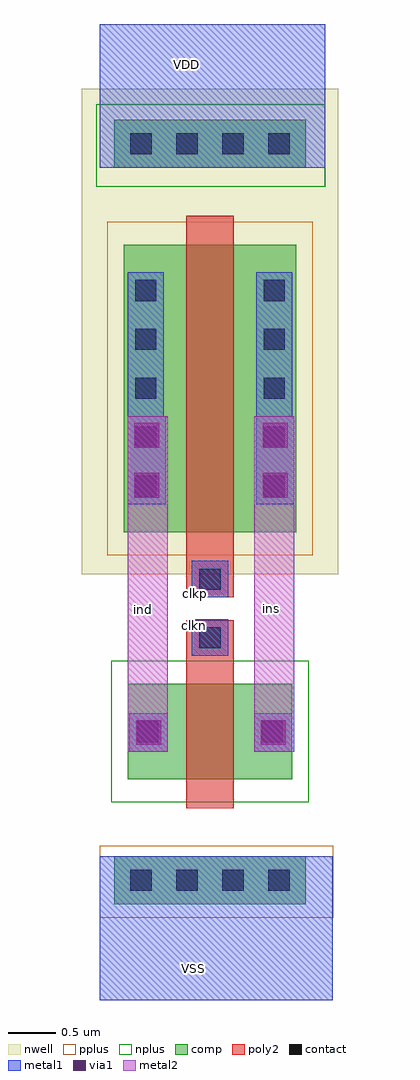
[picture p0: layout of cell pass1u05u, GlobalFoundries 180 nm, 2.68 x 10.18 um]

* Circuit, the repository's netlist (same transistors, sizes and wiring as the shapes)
** sch_path: /foss/designs/libs/core_analog/pass1u05u/pass1u05u.sch
.subckt pass1u05u ind vss clkn ins clkp vdd
*.PININFO ind:B ins:B clkn:B clkp:B vdd:B vss:B
M1 ind clkp ins vdd pfet_03v3 L=0.5u W=3.0u nf=1 m=1
M2 ind clkn ins vss nfet_03v3 L=0.5u W=1.0u nf=1 m=1
.ends

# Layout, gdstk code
from math import pi, radians
import gdstk
lib = gdstk.Library(unit=1e-6, precision=5e-09)
def R(c, l, rs):  # rectangles x0, y0, x1, y1
    for r in rs: c.add(gdstk.rectangle(r[:2], r[2:], *l))
def A(c, l, x, y, w, h, nx, ny, dx, dy):  # array of equal rectangles
    R(c, l, [(x+i*dx, y+j*dy, x+i*dx+w, y+j*dy+h) for i in range(nx) for j in range(ny)])
nwell = (21, 0)
comp = (22, 0)
poly2 = (30, 0)
pplus = (31, 0)
nplus = (32, 0)
contact = (33, 0)
metal1 = (34, 0)
via1 = (35, 0)
metal2 = (36, 0)

pfet_1 = lib.new_cell('pfet$1')
R(pfet_1, nwell, [(-0.9,-0.44,1.78,3.44)])
R(pfet_1, comp, [(-0.46,0,0,3), (0,0,0.88,3), (0.88,0,1.34,3)])
R(pfet_1, poly2, [(0.19,-0.68,0.69,-0.3), (0.19,-0.3,0.69,3.3)])
R(pfet_1, pplus, [(-0.63,-0.24,1.51,3.24)])
A(pfet_1, contact, -0.34, 0.37, 0.22, 0.22, 1, 5, 0, 0.51)
A(pfet_1, contact, 1, 0.37, 0.22, 0.22, 1, 5, 0, 0.51)
R(pfet_1, contact, [(0.33,-0.6,0.55,-0.38)])
R(pfet_1, metal1, [(0.25,-0.68,0.63,-0.3), (-0.42,0.29,-0.04,2.71), (0.92,0.29,1.3,2.71)])

via_dev = lib.new_cell('via_dev')
R(via_dev, comp, [(0,0,2,0.5)])
A(via_dev, contact, 0.17, 0.14, 0.22, 0.22, 4, 1, 0.48, 0)
R(via_dev, metal1, [(0,0,2,0.5)])

nfet = lib.new_cell('nfet')
R(nfet, comp, [(-0.42,0,0,1), (0,0,0.88,1), (0.88,0,1.3,1)])
R(nfet, poly2, [(0.19,-0.3,0.69,1.3), (0.19,1.3,0.69,1.66)])
R(nfet, nplus, [(-0.59,-0.24,1.47,1.24)])
R(nfet, contact, [(-0.32,0.39,-0.1,0.61), (0.98,0.39,1.2,0.61), (0.33,1.37,0.55,1.59)])
R(nfet, metal1, [(-0.4,0.31,-0.02,0.69), (0.9,0.31,1.28,0.69), (0.25,1.29,0.63,1.67)])

via_dev_1 = lib.new_cell('via_dev$1')

via_dev_2 = lib.new_cell('via_dev$2')
R(via_dev_2, metal1, [(0,0,0.4,0.4)])
R(via_dev_2, via1, [(0.07,0.07,0.33,0.33)])
R(via_dev_2, metal2, [(0,0,0.4,0.4)])

pass1u05u = lib.new_cell('pass1u05u')
R(pass1u05u, nwell, [(16.39,-8.335,19.07,-7.15)])
R(pass1u05u, pplus, [(16.58,-15.795,19.015,-15.045)])
R(pass1u05u, nplus, [(16.545,-8.175,18.93,-7.31)])
R(pass1u05u, metal1, [(16.58,-16.655,19.01,-15.155), (16.58,-15.655,16.73,-15.155), (17.245,-11.085,17.27,-10.965), (18.59,-11.085,18.61,-10.965), (16.58,-7.975,16.73,-7.475), (16.58,-7.975,18.93,-6.475)])
R(pass1u05u, metal2, [(16.87,-14.065,17.29,-10.565), (18.19,-14.065,18.61,-10.565), (18.59,-11.085,18.61,-10.965)])
pass1u05u.add(gdstk.Reference(pfet_1, (17.29,-11.775)))
pass1u05u.add(gdstk.Reference(via_dev, (16.73,-7.975)))
pass1u05u.add(gdstk.Reference(via_dev, (16.73,-15.655)))
pass1u05u.add(gdstk.Reference(nfet, (17.29,-14.355)))
pass1u05u.add(gdstk.Reference(via_dev_1, (15.93,-16.245), rotation=pi/2))
pass1u05u.add(gdstk.Reference(via_dev_2, (16.89,-14.065)))
pass1u05u.add(gdstk.Reference(via_dev_2, (18.19,-14.065)))
pass1u05u.add(gdstk.Reference(via_dev_2, (18.21,-11.485)))
pass1u05u.add(gdstk.Reference(via_dev_2, (18.21,-10.965)))
pass1u05u.add(gdstk.Reference(via_dev_2, (16.87,-11.485)))
pass1u05u.add(gdstk.Reference(via_dev_2, (16.87,-10.965)))
pass1u05u.add(gdstk.Label('VDD', (17.48,-6.9), layer=34, texttype=10))
pass1u05u.add(gdstk.Label('clkp', (17.58,-12.42), layer=34, texttype=10))
pass1u05u.add(gdstk.Label('VSS', (17.56,-16.325), layer=34, texttype=10))
pass1u05u.add(gdstk.Label('clkn', (17.57,-12.745), layer=34, texttype=10))
pass1u05u.add(gdstk.Label('ind', (17.04,-12.58), layer=36, texttype=10))
pass1u05u.add(gdstk.Label('ins', (18.37,-12.575), layer=36, texttype=10))

lib.write_gds('pass1u05u.gds')
